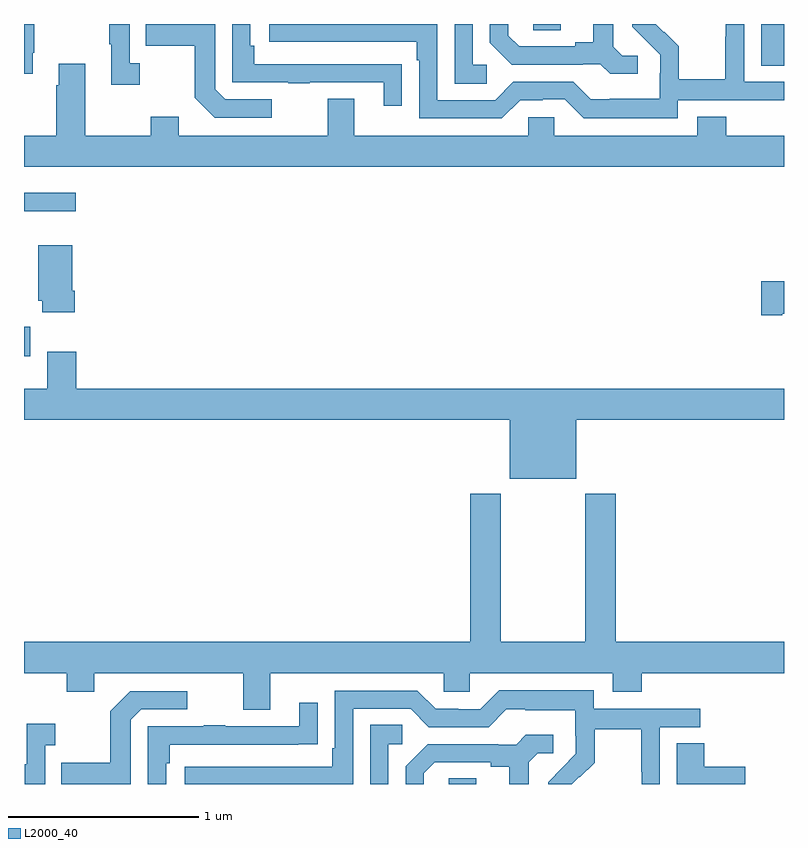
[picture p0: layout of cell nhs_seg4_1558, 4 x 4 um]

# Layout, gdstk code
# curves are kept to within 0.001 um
import gdstk
lib = gdstk.Library(unit=1e-6, precision=1e-09)
def R(c, l, rs):  # rectangles x0, y0, x1, y1
    for r in rs: c.add(gdstk.rectangle(r[:2], r[2:], *l))
def P(c, l, *ps):  # polygons
    for p in ps: c.add(gdstk.Polygon(p, *l))
L2000_40 = (2000, 40)

nhs_seg4_1558 = lib.new_cell('nhs_seg4_1558')
R(nhs_seg4_1558, L2000_40, [(193.236,798.9,193.381,798.929), (191,801.152,191.032,801.306), (191,801.915,191.272,802.012), (194.879,802.681,195,802.9), (193.68,802.867,193.825,802.9)])
P(nhs_seg4_1558, L2000_40, [(191.047,802.75),(191.055,802.75),(191.055,802.9),(191,802.9),(191,802.638),(191.047,802.638)],
  [(193.435,802.686),(193.362,802.686),(193.362,802.9),(193.266,802.9),(193.266,802.585),(193.435,802.585)],
  [(194.23,802.734),(194.148,802.734),(194.101,802.781),(194.101,802.9),(193.997,802.9),(193.997,802.805),(193.901,802.805),(193.901,802.782),(193.606,802.782),(193.549,802.839),(193.549,802.9),(193.452,802.9),(193.452,802.802),(193.568,802.686),(193.94,802.686),(193.94,802.689),(194.034,802.689),(194.086,802.637),(194.23,802.637)],
  [(194.442,802.5),(195,802.5),(195,802.596),(194.79,802.596),(194.79,802.9),(194.694,802.9),(194.694,802.832),(194.692,802.832),(194.692,802.609),(194.447,802.609),(194.447,802.783),(194.37,802.86),(194.367,802.857),(194.325,802.9),(194.202,802.9),(194.202,802.886),(194.348,802.738),(194.348,802.641),(194.346,802.641),(194.346,802.507),(194.083,802.507),(194.083,802.503),(193.983,802.503),(193.89,802.596),(193.575,802.596),(193.479,802.5),(193.176,802.5),(193.176,802.9),(192.291,802.9),(192.291,802.806),(193.067,802.806),(193.067,802.709),(193.08,802.709),(193.08,802.404),(193.515,802.404),(193.611,802.5),(193.73,802.5),(193.73,802.503),(193.845,802.503),(193.945,802.403),(194.442,802.403)],
  [(191.608,802.694),(191.556,802.694),(191.556,802.9),(191.448,802.9),(191.448,802.793),(191.459,802.793),(191.459,802.581),(191.608,802.581)],
  [(192.989,802.688),(192.887,802.688),(192.887,802.689),(192.212,802.689),(192.212,802.786),(192.192,802.786),(192.192,802.9),(192.096,802.9),(192.096,802.593),(192.391,802.593),(192.391,802.588),(192.503,802.588),(192.503,802.593),(192.893,802.593),(192.893,802.47),(192.989,802.47)],
  [(192.304,802.503),(192.06,802.503),(192.006,802.557),(192.006,802.9),(191.641,802.9),(191.641,802.786),(191.898,802.786),(191.898,802.513),(192.003,802.407),(192.304,802.407)],
  [(195,802.312),(194.696,802.312),(194.696,802.411),(194.543,802.411),(194.543,802.312),(193.791,802.312),(193.791,802.41),(193.653,802.41),(193.653,802.312),(192.739,802.312),(192.739,802.507),(192.599,802.507),(192.599,802.312),(191.815,802.312),(191.815,802.411),(191.668,802.411),(191.668,802.312),(191.323,802.312),(191.323,802.69),(191.183,802.69),(191.183,802.577),(191.171,802.577),(191.171,802.312),(191,802.312),(191,802.148),(195,802.148)],
  [(191.267,801.496),(191.254,801.496),(191.254,801.736),(191.075,801.736),(191.075,801.444),(191.096,801.444),(191.096,801.384),(191.267,801.384)],
  [(194.992,801.374),(195,801.374),(195,801.545),(194.88,801.545),(194.88,801.367),(194.992,801.367)],
  [(193.906,800.816),(195,800.816),(195,800.98),(191.276,800.98),(191.276,801.175),(191.123,801.175),(191.123,800.98),(191,800.98),(191,800.816),(193.556,800.816),(193.556,800.507),(193.906,800.507)],
  [(192.295,799.484),(193.209,799.484),(193.209,799.386),(193.347,799.386),(193.347,799.484),(194.099,799.484),(194.099,799.385),(194.252,799.385),(194.252,799.484),(195,799.484),(195,799.648),(194.114,799.648),(194.114,800.428),(193.954,800.428),(193.954,799.648),(193.509,799.648),(193.509,800.428),(193.349,800.428),(193.349,799.648),(191,799.648),(191,799.484),(191.224,799.484),(191.224,799.385),(191.371,799.385),(191.371,799.484),(192.155,799.484),(192.155,799.29),(192.295,799.29)],
  [(192.732,799.296),(193.035,799.296),(193.131,799.2),(193.446,799.2),(193.539,799.293),(193.639,799.293),(193.639,799.289),(193.902,799.289),(193.902,799.155),(193.904,799.155),(193.904,799.058),(193.758,798.91),(193.758,798.9),(193.884,798.9),(193.923,798.939),(193.926,798.936),(194.003,799.013),(194.003,799.188),(194.248,799.188),(194.248,798.964),(194.25,798.964),(194.25,798.9),(194.346,798.9),(194.346,799.2),(194.56,799.2),(194.56,799.296),(193.998,799.296),(193.998,799.393),(193.501,799.393),(193.401,799.293),(193.286,799.293),(193.286,799.296),(193.167,799.296),(193.071,799.392),(192.636,799.392),(192.636,799.087),(192.623,799.087),(192.623,798.99),(191.847,798.99),(191.847,798.9),(192.732,798.9)],
  [(191.562,799.239),(191.616,799.293),(191.86,799.293),(191.86,799.389),(191.559,799.389),(191.454,799.283),(191.454,799.011),(191.197,799.011),(191.197,798.9),(191.562,798.9)],
  [(191.748,799.01),(191.768,799.01),(191.768,799.107),(192.443,799.107),(192.443,799.108),(192.545,799.108),(192.545,799.327),(192.449,799.327),(192.449,799.203),(192.059,799.203),(192.059,799.208),(191.947,799.208),(191.947,799.203),(191.652,799.203),(191.652,798.9),(191.748,798.9)],
  [(191.112,799.103),(191.164,799.103),(191.164,799.216),(191.015,799.216),(191.015,799.003),(191.004,799.003),(191.004,798.9),(191.112,798.9)],
  [(192.918,799.11),(192.991,799.11),(192.991,799.211),(192.822,799.211),(192.822,798.9),(192.918,798.9)],
  [(193.105,798.957),(193.162,799.014),(193.457,799.014),(193.457,798.992),(193.553,798.992),(193.553,798.9),(193.657,798.9),(193.657,799.015),(193.704,799.062),(193.786,799.062),(193.786,799.159),(193.642,799.159),(193.59,799.107),(193.496,799.107),(193.496,799.11),(193.124,799.11),(193.008,798.994),(193.008,798.9),(193.105,798.9)],
  [(194.797,798.992),(194.579,798.992),(194.579,799.115),(194.435,799.115),(194.435,798.9),(194.797,798.9)])

lib.write_gds('nhs_seg4_1558.gds')
